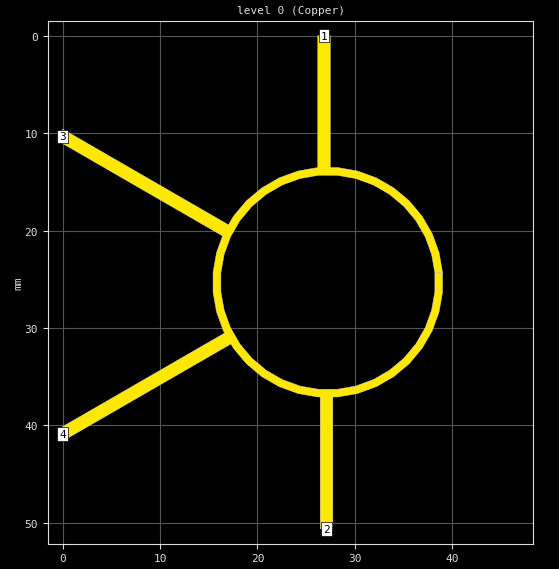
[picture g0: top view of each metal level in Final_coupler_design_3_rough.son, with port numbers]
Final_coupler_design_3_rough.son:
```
FTYP SONPROJ 19 ! Sonnet Project File
VER 18.53
HEADER
LIC SL632eddd3
DAT 11/29/2022 18:12:12
BUILT_BY_CREATED xgeom 18.53-Lite 10/17/2022 19:34:04
BUILT_BY_SAVED sonnet 18.53-Lite
MDATE 10/22/2022 16:38:08
HDATE 10/22/2022 16:38:08
END HEADER
DIM
ANG DEG
CAP PF
CON /OH
FREQ GHZ
IND NH
LNG MM
RES OH
END DIM
CONTROL
VARSWP
OPTIONS  -d
SPEED 0
CACHE_ABS 2
Q_ACC N
END CONTROL
GEO
TMET "Lossless" 0 SUP 0 0 0 0
BMET "Lossless" 0 SUP 0 0 0 0
MET "Copper" 1 NOR 58000000 0.5 0.035 
BOX 1 46.81 50.626 368 398 20 0
      8 1 1 0 0 0 0 "Air"
      0.8 4.4 1 0.02 0 0 0 "FR-4"
TECHLAY METAL Copper <UNSPECIFIED> -2 -65534 
0 0 0 N 256 1 1 100 100 0 0 0 Y
END
END
VALVAR L3 LNG 19.670047364983 "Dim. Param. L3"
VALVAR L4 LNG 19.9596732571022 "Dim. Param. L4"
DIM STD YDIR -1
POS -5.104389146 -11.62099773
NOM 13.53264805
REF1 POLY 246 1
60
REF2 POLY 246 1
61
END
DIM STD YDIR -1
POS -4.852582349 -11.33427535
NOM 13.54134407
REF1 POLY 246 1
90
REF2 POLY 246 1
0
END
DIM STD XDIR 1
POS 19.46474205 3.061049906
NOM 21.9642
REF1 POLY 246 1
30
REF2 POLY 246 1
13
END
DIM STD YDIR -1
POS 12.56968259 -25.09854919
NOM 23.552
REF1 POLY 246 1
0
REF2 POLY 246 1
60
END
DIM STD XDIR 1
POS 1.023533181 -9.178768282
NOM 1.2919078
REF1 POLY 246 1
63
REF2 POLY 246 1
60
END
VALVAR w2 LNG 1.2926601222841 "Dim. Param."
VALVAR w3 LNG 1.29193310558804 "Dim. Param."
DIM STD XDIR 1
POS 0.6760993833 2.565427307
NOM 1.2919078
REF1 POLY 246 1
88
REF2 POLY 246 1
0
END
LORGN 0 50.626 U 
POR1 BOX
POLY 246 1
89
2 50 0 0 0 27.09787411 50.62599204 
POR1 BOX
POLY 246 1
79
4 50 0 0 0 -1.330206651e-09 40.87419041 
POR1 BOX
POLY 246 1
70
3 50 0 0 0 1.970051395e-09 10.32231845 
POR1 BOX
POLY 246 1
61
1 50 0 0 0 26.84347193 -7.921380318e-08 
NUM 1
0 92 0 N 246 1 1 100 100 0 0 0 Y
TLAYNAM Copper INH
27.74382801 37.08464797
28.25805103 37.08464797
30.28727991 36.72684017
32.22354757 36.02209638
34.00802149 34.99182988
35.58648135 33.66734479
36.91096643 32.08888494
37.94123294 30.30441101
38.64597673 28.36814335
39.00378453 26.33891447
39.00378453 26.27227244
39.00378453 24.35065394
38.21712366 24.35065394
38.21712366 26.27227244
37.88343811 28.16469724
37.22620587 29.97042797
36.26539662 31.63459841
35.03020406 33.10664359
33.55815888 34.34183615
31.89398844 35.3026454
30.08825771 35.95987764
28.19583291 36.29356319
26.27421441 36.29356319
24.38178961 35.95987764
22.57605888 35.3026454
20.91188844 34.34183615
19.43984326 33.10664359
18.2046507 31.63459841
17.24384145 29.97042797
16.58660921 28.16469724
16.25292366 26.27227244
16.25292366 24.35065394
16.58660921 22.45822914
17.24384145 20.65249841
18.2046507 18.98832797
19.43984326 17.51628279
20.91188844 16.28109023
22.57605888 15.32028098
24.38178961 14.66304874
26.27421441 14.32936319
28.19583291 14.32936319
30.08825771 14.66304874
31.89398844 15.32028098
33.55815888 16.28109023
35.03020406 17.51628279
36.26539662 18.98832797
37.22620587 20.65249841
37.88343811 22.45822914
38.21712366 24.35065394
39.00378453 24.35065394
39.00378453 24.35065394
39.00378453 24.27838147
38.64597673 22.24915259
37.94123294 20.31288494
36.91096643 18.52841101
35.58648135 16.94995115
34.00802149 15.62546607
32.22354757 14.59519957
30.28727991 13.89045577
28.25805103 13.53264797
27.48942583 13.53264797
27.48942583 -7.921380318e-08
26.19751803 -7.921380318e-08
26.19751803 13.53264797
24.16828915 13.89045577
22.23202149 14.59519957
20.44754757 15.62546607
18.86908771 16.94995115
17.54460263 18.52841101
17.03476492 19.41147582
2.580033964e-09 9.576459422
1.360068826e-09 11.06817748
16.42714932 20.5524287
15.80959233 22.24915259
15.45178453 24.27838147
15.45178453 26.33891447
15.80959233 28.36814335
16.51433612 30.30441101
16.63961818 30.5214059
-2.153728829e-09 40.12829251
-5.066844722e-10 41.62008831
17.28558473 31.64025279
17.54460263 32.08888494
18.86908771 33.66734479
20.44754757 34.99182988
22.23202149 36.02209638
24.16828915 36.72684017
26.19751803 37.08464797
26.45192021 37.08464797
26.45192021 50.62599204
27.74382801 50.62599204
27.74382801 37.08464797
END
END GEO
OPT
MAX 100
END OPT
VARSWP
ENABLED Y
FREQ Y AY ABS_ENTRY 1.0 4.0 -1 300 
VAR L3 N 20.5351667 20.5351667 UNDEF
VAR L4 N 20.8450991 20.8450991 UNDEF
VAR w2 N 1.29266012 1.29266012 UNDEF
VAR w3 N 1.27202695 1.27202695 UNDEF
END
END VARSWP
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```
